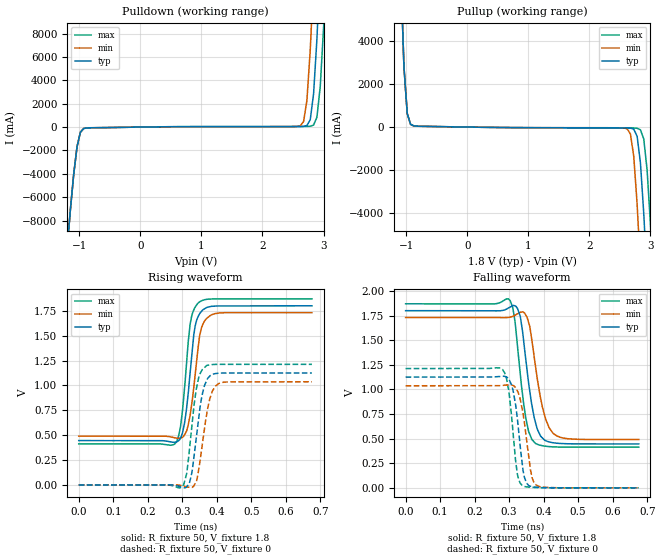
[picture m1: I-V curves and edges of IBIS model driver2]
| IBIS file invchain_weak_tr50ps.ibs created by PYS2IBIS3
| Missouri S&T EMC Lab
[IBIS Ver] 7.1
[File Name] invchain_weak_tr50ps.ibs
[File Rev] 1.0
[Date] Jul 27, 2026
[Source] inv_chain variant 'weak' -- half drive at every stage
[Notes] Parameter selection; sim_time=6.756e-10, tr=tf=5.000e-11.
[Component] invchain
[Manufacturer] s2ibispy study
[Package]
| variable   typ   min   max
R_pkg 0 NA NA
L_pkg 0H NA NA
C_pkg 0F NA NA
[Pin]  signal_name   model_name   R_pin   L_pin   C_pin
VSSQ   VSSQ   Gnd
VCCQ   VCCQ   Power
| IN IN dummy
PAD   PAD   driver2
| End of Component
| Models and submodels in the file (1): driver2 (Output)
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[Model] driver2
Model_type Output
Polarity Non-Inverting
Enable Active-High
Vinl  = 0.8V
Vinh  = 2V
C_comp 0.4680pF NA NA
[Temperature Range] 27.0000 27.0000 27.0000
[Voltage Range] 1.8000V 1.7000V 1.9000V
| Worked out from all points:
|   slope of the pulldown table from 0 to 0.27 V, typ, clamps not added: 14.1 ohm
|   slope of the pullup table from 0 to 0.27 V, typ, clamps not added: 24.6 ohm
|   rising waveform, R_fixture 50, V_fixture 1.8: 20-80 % time 23.6ps typ, 25.1ps min, 21.9ps max; typ from 0.446 V to 1.8 V
|   rising waveform, R_fixture 50, V_fixture 0: 20-80 % time 25.3ps typ, 27ps min, 23.7ps max; typ from 0 V to 1.12 V
|   falling waveform, R_fixture 50, V_fixture 1.8: 20-80 % time 31.4ps typ, 35.7ps min, 28.2ps max; typ from 1.8 V to 0.446 V
|   falling waveform, R_fixture 50, V_fixture 0: 20-80 % time 22.5ps typ, 24.2ps min, 20.5ps max; typ from 1.12 V to 0 V
[Pulldown]
| Voltage   I(typ)   I(min)   I(max)
-1.8V     -50.22A    -50.22A    -50.22A
-1.2V     -10.44A    -10.44A    -10.44A
-1.036V   -1.67A     -1.668A    -1.672A
-927.3mV  -121.6mA   -118.9mA   -124mA
2.618V    48.73mA    103.1mA    49.35mA
2.727V    131.8mA    2.281A     54.59mA
2.782V    631.5mA    6.58A      69.15mA
2.836V    2.833A     12.65A     170.1mA
2.891V    7.503A     19.29A     839.8mA
2.946V    13.76A     25.94A     3.459A
3V        20.41A     32.59A     8.47A
3.6V      93.55A     105.7A     81.36A
[Pullup]
| Voltage   I(typ)   I(min)   I(max)
-1.8V     93.5A      93.5A      93.5A
-1.091V   7.473A     7.472A     7.473A
-981.8mV  621.2mA    620.4mA    621.9mA
-872.7mV  52.26mA    51.37mA    53.06mA
2.618V    -40.01mA   -79.32mA   -40.56mA
2.727V    -99.7mA    -1.375A    -44.4mA
2.782V    -427.1mA   -3.579A    -55.14mA
2.836V    -1.672A    -6.535A    -126.4mA
2.891V    -4.036A    -9.883A    -555.7mA
2.946V    -7.076A    -13.45A    -2.002A
3V        -10.47A    -17.07A    -4.511A
3.6V      -50.25A    -56.88A    -43.62A
[Ramp]
| variable   typ   min   max
dV/dt_r 0.6750/0.02532n 0.6222/0.02699n 0.7272/0.02368n
dV/dt_f 0.8123/0.03134n 0.7501/0.0345n 0.8728/0.0295n
R_load = 50
[Rising Waveform]
R_fixture = 50
V_fixture = 1.8
|time   V(typ)   V(min)   V(max)
0s        446.2mV    490.9mV    413.3mV
278ps     429.2mV    474.4mV    411.6mV
294.9ps   469.2mV    470mV      585.9mV
316.5ps   897mV      591.1mV    1.407V
323.9ps   1.175V     727.6mV    1.638V
335.4ps   1.561V     1.044V     1.777V
350.3ps   1.721V     1.5V       1.841V
365.2ps   1.773V     1.651V     1.862V
399ps     1.799V     1.725V     1.87V
675.6ps   1.8V       1.731V     1.87V
[Rising Waveform]
R_fixture = 50
V_fixture = 0
|time   V(typ)   V(min)   V(max)
0s        17.4nV     16.96nV    17.93nV
297.6ps   -22.41mV   -5.388mV   -22.27mV
313.1ps   -16.19mV   -20.93mV   121.4mV
326.7ps   106.5mV    -24.51mV   559.6mV
334.1ps   285.1mV    -5.828mV   802.3mV
342.2ps   527.1mV    49.92mV    991.8mV
358.4ps   918.7mV    420.5mV    1.161V
378.7ps   1.093V     853.3mV    1.208V
403.8ps   1.123V     1.016V     1.212V
675.6ps   1.125V     1.037V     1.212V
[Falling Waveform]
R_fixture = 50
V_fixture = 1.8
|time   V(typ)   V(min)   V(max)
0s        1.8V       1.731V     1.87V
298.2ps   1.828V     1.732V     1.92V
315.2ps   1.852V     1.751V     1.731V
332.1ps   1.744V     1.783V     1.156V
346.9ps   1.339V     1.763V     732.2mV
359.8ps   976.3mV    1.641V     542.3mV
367.2ps   811.3mV    1.466V     485.8mV
395.6ps   508.6mV    830.5mV    428.3mV
426.7ps   458.3mV    555.8mV    416.4mV
675.6ps   446.2mV    490.9mV    413.3mV
[Falling Waveform]
R_fixture = 50
V_fixture = 0
|time   V(typ)   V(min)   V(max)
0s        1.125V     1.037V     1.212V
280.7ps   1.134V     1.041V     1.203V
298.2ps   1.111V     1.047V     1.002V
311.1ps   994.8mV    1.04V      572.8mV
323.9ps   700.7mV    986.3mV    138.7mV
338.8ps   210.8mV    786.2mV    20.97mV
350.3ps   48.98mV    492.6mV    9.82mV
364.5ps   12.79mV    131.7mV    5.194mV
381.4ps   5.781mV    21.57mV    2.277mV
675.6ps   94.62nV    -155.3nV   144.2nV
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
